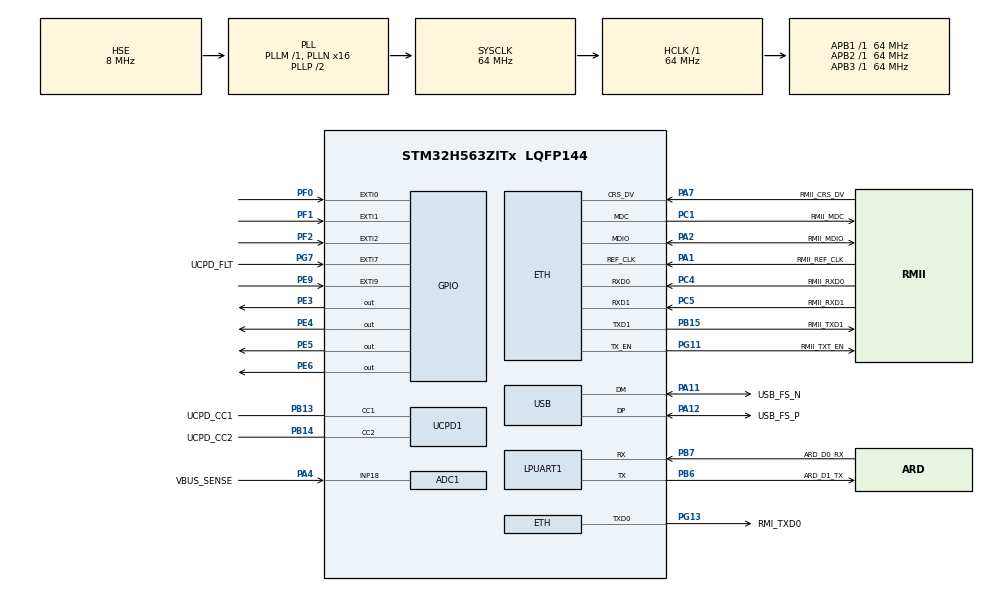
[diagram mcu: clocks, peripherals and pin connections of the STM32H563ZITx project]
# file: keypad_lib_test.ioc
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ADC1.Channel-0\#ChannelRegularConversion=ADC_CHANNEL_18
ADC1.MonitoredBy-0\#ChannelRegularConversion=__NULL
ADC1.NbrOfConversionFlag=1
ADC1.OffsetNumber-0\#ChannelRegularConversion=ADC_OFFSET_NONE
ADC1.Rank-0\#ChannelRegularConversion=1
ADC1.SamplingTime-0\#ChannelRegularConversion=ADC_SAMPLETIME_2CYCLES_5
ADC1.master=1
CORTEX_M33_NS.userName=CORTEX_M33
ETH.MediaInterface=HAL_ETH_RMII_MODE
Mcu.Family=STM32H5
Mcu.Name=STM32H563ZITx
Mcu.Package=LQFP144
NVIC.EXTI0_IRQn=true\:0\:0\:false\:false\:true\:true\:true\:true
NVIC.EXTI1_IRQn=true\:0\:0\:false\:false\:true\:true\:true\:true
NVIC.EXTI2_IRQn=true\:0\:0\:false\:false\:true\:true\:true\:true
NVIC.EXTI9_IRQn=true\:0\:0\:false\:false\:true\:true\:true\:true
NVIC.PriorityGroup=NVIC_PRIORITYGROUP_4
PA1.GPIO_Label=RMII_REF_CLK
PA1.GPIO_Mode=GPIO_MODE_AF_PP
PA1.GPIO_PuPd=GPIO_NOPULL
PA1.GPIO_Speed=GPIO_SPEED_FREQ_LOW
PA1.Mode=RMII
PA1.Signal=ETH_REF_CLK
PA11.GPIO_Label=USB_FS_N
PA11.Mode=Device
PA11.Signal=USB_DM
PA12.GPIO_Label=USB_FS_P
PA12.Mode=Device
PA12.Signal=USB_DP
PA13(JTMS/SWDIO).GPIO_Label=SWDIO
PA13(JTMS/SWDIO).Signal=DEBUG_JTMS-SWDIO
PA14(JTCK/SWCLK).GPIO_Label=SWCLK
PA14(JTCK/SWCLK).Signal=DEBUG_JTCK-SWCLK
PA15(JTDI).GPIO_Label=T_JTDI
PA15(JTDI).Signal=DEBUG_JTDI
PA2.GPIO_Label=RMII_MDIO
PA2.GPIO_Mode=GPIO_MODE_AF_PP
PA2.GPIO_PuPd=GPIO_NOPULL
PA2.GPIO_Speed=GPIO_SPEED_FREQ_LOW
PA2.Mode=RMII
PA2.Signal=ETH_MDIO
PA4.GPIO_Label=VBUS_SENSE
PA4.Signal=ADCx_INP18
PA7.GPIO_Label=RMII_CRS_DV
PA7.GPIO_Mode=GPIO_MODE_AF_PP
PA7.GPIO_PuPd=GPIO_NOPULL
PA7.GPIO_Speed=GPIO_SPEED_FREQ_LOW
PA7.Mode=RMII
PA7.Signal=ETH_CRS_DV
PB13.GPIO_Label=UCPD_CC1
PB13.Mode=Source_AllSignals
PB13.Signal=UCPD1_CC1
PB14.GPIO_Label=UCPD_CC2
PB14.Mode=Source_AllSignals
PB14.Signal=UCPD1_CC2
PB15.GPIO_Label=RMII_TXD1
PB15.GPIO_Mode=GPIO_MODE_AF_PP
PB15.GPIO_PuPd=GPIO_NOPULL
PB15.GPIO_Speed=GPIO_SPEED_FREQ_LOW
PB15.Mode=RMII
PB15.Signal=ETH_TXD1
PB3(JTDO/TRACESWO).GPIO_Label=SWO
PB3(JTDO/TRACESWO).Signal=DEBUG_JTDO-SWO
PB6.GPIO_Label=ARD_D1_TX
PB6.Mode=Asynchronous
PB6.Signal=LPUART1_TX
PB7.GPIO_Label=ARD_D0_RX
PB7.Mode=Asynchronous
PB7.Signal=LPUART1_RX
PC1.GPIO_Label=RMII_MDC
PC1.GPIO_Mode=GPIO_MODE_AF_PP
PC1.GPIO_PuPd=GPIO_NOPULL
PC1.GPIO_Speed=GPIO_SPEED_FREQ_LOW
PC1.Mode=RMII
PC1.Signal=ETH_MDC
PC14-OSC32_IN(OSC32_IN).Mode=LSE-External-Oscillator
PC14-OSC32_IN(OSC32_IN).Signal=RCC_OSC32_IN
PC15-OSC32_OUT(OSC32_OUT).Mode=LSE-External-Oscillator
PC15-OSC32_OUT(OSC32_OUT).Signal=RCC_OSC32_OUT
PC4.GPIO_Label=RMII_RXD0
PC4.GPIO_Mode=GPIO_MODE_AF_PP
PC4.GPIO_PuPd=GPIO_NOPULL
PC4.GPIO_Speed=GPIO_SPEED_FREQ_LOW
PC4.Mode=RMII
PC4.Signal=ETH_RXD0
PC5.GPIO_Label=RMII_RXD1
PC5.GPIO_Mode=GPIO_MODE_AF_PP
PC5.GPIO_PuPd=GPIO_NOPULL
PC5.GPIO_Speed=GPIO_SPEED_FREQ_LOW
PC5.Mode=RMII
PC5.Signal=ETH_RXD1
PE3.Signal=GPIO_Output
PE4.Signal=GPIO_Output
PE5.Signal=GPIO_Output
PE6.Signal=GPIO_Output
PE9.GPIO_ModeDefaultEXTI=GPIO_MODE_IT_RISING_FALLING
PE9.Signal=GPXTI9
PF0.GPIO_ModeDefaultEXTI=GPIO_MODE_IT_RISING_FALLING
PF0.Signal=GPXTI0
PF1.GPIO_ModeDefaultEXTI=GPIO_MODE_IT_RISING_FALLING
PF1.Signal=GPXTI1
PF2.GPIO_ModeDefaultEXTI=GPIO_MODE_IT_RISING_FALLING
PF2.Signal=GPXTI2
PG11.GPIO_Label=RMII_TXT_EN
PG11.GPIO_Mode=GPIO_MODE_AF_PP
PG11.GPIO_PuPd=GPIO_NOPULL
PG11.GPIO_Speed=GPIO_SPEED_FREQ_LOW
PG11.Mode=RMII
PG11.Signal=ETH_TX_EN
PG13.GPIO_Label=RMI_TXD0
PG13.GPIO_Mode=GPIO_MODE_AF_PP
PG13.GPIO_PuPd=GPIO_NOPULL
PG13.GPIO_Speed=GPIO_SPEED_FREQ_LOW
PG13.Mode=RMII
PG13.Signal=ETH_TXD0
PG7.GPIO_Label=UCPD_FLT
PG7.Signal=GPXTI7
PH0-OSC_IN(PH0).Mode=HSE-DIG-External-Clock-Source
PH0-OSC_IN(PH0).Signal=RCC_OSC_IN
ProjectManager.HeapSize=0x200
ProjectManager.StackSize=0x400
ProjectManager.TargetToolchain=STM32CubeIDE
RCC.ADCFreq_Value=64000000
RCC.AHBFreq_Value=64000000
RCC.APB1Freq_Value=64000000
RCC.APB1TimFreq_Value=64000000
RCC.APB2Freq_Value=64000000
RCC.APB2TimFreq_Value=64000000
RCC.APB3Freq_Value=64000000
RCC.CSI_VALUE=4000000
RCC.CortexFreq_Value=64000000
RCC.EPOD_VALUE=8000000
RCC.HCLKFreq_Value=64000000
RCC.HSE_VALUE=8000000
RCC.HSI48_VALUE=48000000
RCC.HSIDiv=RCC_HSI_DIV1
RCC.HSI_VALUE=64000000
RCC.LSIRC_VALUE=32000
RCC.PLLFRACN=0
RCC.PLLN=16
RCC.PLLSourceVirtual=RCC_PLL1_SOURCE_HSE
RCC.SYSCLKFreq_VALUE=64000000
RCC.SYSCLKSource=RCC_SYSCLKSOURCE_PLLCLK
RCC.USBFreq_Value=48000000
RCC.VCOOutputFreq_Value=128000000
SH.ADCx_INP18.0=ADC1_INP18,IN18-Single-Ended
USB.VirtualMode=Device_Only
VP_BOOTPATH_VS_BOOTPATH.Mode=BP_Activate
VP_ICACHE_VS_ICACHE.Mode=DefaultMode
VP_MEMORYMAP_VS_MEMORYMAP.Mode=CurAppReg
VP_PWR_VS_DBSignals.Mode=DisableDeadBatterySignals
VP_PWR_VS_LPOM.Mode=PowerOptimisation
VP_PWR_VS_SECSignals.Mode=Security/Privilege
VP_TIM3_VS_OPM.Mode=OPM_bit
board=NUCLEO-H563ZI

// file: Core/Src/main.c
/* USER CODE BEGIN Header */
/**
  ******************************************************************************
  * @file           : main.c
  * @brief          : Main program body
  ******************************************************************************
  * @attention
  *
  * Copyright (c) 2024 STMicroelectronics.
  * All rights reserved.
  *
  * This software is licensed under terms that can be found in the LICENSE file
  * in the root directory of this software component.
  * If no LICENSE file comes with this software, it is provided AS-IS.
  *
  ******************************************************************************
  */
/* USER CODE END Header */
#include "main.h"
#include "string.h"

/* USER CODE BEGIN Includes */
#include "keypad.h"
/* USER CODE END Includes */

/* USER CODE BEGIN PD */
#define ROW0_PORT GPIOE
#define ROW1_PORT GPIOE
#define ROW2_PORT GPIOE
#define ROW3_PORT GPIOE
#define ROW0_PIN GPIO_PIN_4
#define ROW1_PIN GPIO_PIN_5
#define ROW2_PIN GPIO_PIN_6
#define ROW3_PIN GPIO_PIN_3
#define COL0_PORT GPIOE
#define COL1_PORT GPIOF
#define COL2_PORT GPIOF
#define COL3_PORT GPIOF
#define COL0_PIN GPIO_PIN_9 //EXTI pin number cannot overlap
#define COL1_PIN GPIO_PIN_2
#define COL2_PIN GPIO_PIN_1
#define COL3_PIN GPIO_PIN_0
/* USER CODE END PD */

ETH_TxPacketConfig TxConfig;
ETH_DMADescTypeDef  DMARxDscrTab[ETH_RX_DESC_CNT]; /* Ethernet Rx DMA Descriptors */
ETH_DMADescTypeDef  DMATxDscrTab[ETH_TX_DESC_CNT]; /* Ethernet Tx DMA Descriptors */

ADC_HandleTypeDef hadc1;

ETH_HandleTypeDef heth;

UART_HandleTypeDef hlpuart1;

TIM_HandleTypeDef htim3;

PCD_HandleTypeDef hpcd_USB_DRD_FS;

void SystemClock_Config(void);
static void MX_GPIO_Init(void);
static void MX_ADC1_Init(void);
static void MX_ETH_Init(void);
static void MX_ICACHE_Init(void);
static void MX_LPUART1_UART_Init(void);
static void MX_UCPD1_Init(void);
static void MX_USB_PCD_Init(void);
static void MX_TIM3_Init(void);

/* USER CODE BEGIN 0 */
extern uint8_t Last_Key_Down;
uint16_t rise_pin, fall_pin;
Keypad myKB;

GPIO_TypeDef* KB_COL_PORTs[4] = {COL0_PORT, COL1_PORT, COL2_PORT, COL3_PORT};
GPIO_TypeDef* KB_ROW_PORTs[4] = {ROW0_PORT, ROW1_PORT, ROW2_PORT, ROW3_PORT};
uint16_t KB_COL_PINs[4] = {COL0_PIN, COL1_PIN, COL2_PIN, COL3_PIN};
uint16_t KB_ROW_PINs[4] = {ROW0_PIN, ROW1_PIN, ROW2_PIN, ROW3_PIN};
/* USER CODE END 0 */

int main(void)
{

  /* MCU Configuration--------------------------------------------------------*/

  /* Reset of all peripherals, Initializes the Flash interface and the Systick. */
  HAL_Init();

  /* USER CODE BEGIN Init */
  uint8_t col0_keys[4] = {'0', '1', '2', '3'};
  uint8_t col1_keys[4] = {'4', '5', '6', '7'};
  uint8_t col2_keys[4] = {'8', '9', 'A', 'B'};
  uint8_t col3_keys[4] = {'C', 'D', 'E', 'F'};
  uint8_t *keys[4] = {col0_keys, col1_keys, col2_keys, col3_keys};
  /* USER CODE END Init */

  /* Configure the system clock */
  SystemClock_Config();

  /* Initialize all configured peripherals */
  MX_GPIO_Init();
  MX_ADC1_Init();
  MX_ETH_Init();
  MX_ICACHE_Init();
  MX_LPUART1_UART_Init();
  MX_UCPD1_Init();
  MX_USB_PCD_Init();
  MX_TIM3_Init();
  /* USER CODE BEGIN 2 */
  Keypad_Start(&myKB, KB_ROW_PORTs, KB_COL_PORTs, KB_ROW_PINs, KB_COL_PINs, keys);
  /* USER CODE END 2 */

  /* Infinite loop */
  while (1)
  {

  }
}

void SystemClock_Config(void)
{
  RCC_OscInitTypeDef RCC_OscInitStruct = {0};
  RCC_ClkInitTypeDef RCC_ClkInitStruct = {0};

  /** Configure the main internal regulator output voltage
  */
  __HAL_PWR_VOLTAGESCALING_CONFIG(PWR_REGULATOR_VOLTAGE_SCALE3);

  while(!__HAL_PWR_GET_FLAG(PWR_FLAG_VOSRDY)) {}

  /** Initializes the RCC Oscillators according to the specified parameters
  * in the RCC_OscInitTypeDef structure.
  */
  RCC_OscInitStruct.OscillatorType = RCC_OSCILLATORTYPE_HSI48|RCC_OSCILLATORTYPE_HSI
                              |RCC_OSCILLATORTYPE_HSE;
  RCC_OscInitStruct.HSEState = RCC_HSE_BYPASS_DIGITAL;
  RCC_OscInitStruct.HSIState = RCC_HSI_ON;
  RCC_OscInitStruct.HSIDiv = RCC_HSI_DIV1;
  RCC_OscInitStruct.HSICalibrationValue = RCC_HSICALIBRATION_DEFAULT;
  RCC_OscInitStruct.HSI48State = RCC_HSI48_ON;
  RCC_OscInitStruct.PLL.PLLState = RCC_PLL_ON;
  RCC_OscInitStruct.PLL.PLLSource = RCC_PLL1_SOURCE_HSE;
  RCC_OscInitStruct.PLL.PLLM = 1;
  RCC_OscInitStruct.PLL.PLLN = 16;
  RCC_OscInitStruct.PLL.PLLP = 2;
  RCC_OscInitStruct.PLL.PLLQ = 2;
  RCC_OscInitStruct.PLL.PLLR = 2;
  RCC_OscInitStruct.PLL.PLLRGE = RCC_PLL1_VCIRANGE_3;
  RCC_OscInitStruct.PLL.PLLVCOSEL = RCC_PLL1_VCORANGE_WIDE;
  RCC_OscInitStruct.PLL.PLLFRACN = 0;
  if (HAL_RCC_OscConfig(&RCC_OscInitStruct) != HAL_OK)
  {
    Error_Handler();
  }

  /** Initializes the CPU, AHB and APB buses clocks
  */
  RCC_ClkInitStruct.ClockType = RCC_CLOCKTYPE_HCLK|RCC_CLOCKTYPE_SYSCLK
                              |RCC_CLOCKTYPE_PCLK1|RCC_CLOCKTYPE_PCLK2
                              |RCC_CLOCKTYPE_PCLK3;
  RCC_ClkInitStruct.SYSCLKSource = RCC_SYSCLKSOURCE_PLLCLK;
  RCC_ClkInitStruct.AHBCLKDivider = RCC_SYSCLK_DIV1;
  RCC_ClkInitStruct.APB1CLKDivider = RCC_HCLK_DIV1;
  RCC_ClkInitStruct.APB2CLKDivider = RCC_HCLK_DIV1;
  RCC_ClkInitStruct.APB3CLKDivider = RCC_HCLK_DIV1;

  if (HAL_RCC_ClockConfig(&RCC_ClkInitStruct, FLASH_LATENCY_3) != HAL_OK)
  {
    Error_Handler();
  }
}

static void MX_ADC1_Init(void)
{

  ADC_ChannelConfTypeDef sConfig = {0};

  /** Common config
  */
  hadc1.Instance = ADC1;
  hadc1.Init.ClockPrescaler = ADC_CLOCK_ASYNC_DIV1;
  hadc1.Init.Resolution = ADC_RESOLUTION_12B;
  hadc1.Init.DataAlign = ADC_DATAALIGN_RIGHT;
  hadc1.Init.ScanConvMode = ADC_SCAN_DISABLE;
  hadc1.Init.EOCSelection = ADC_EOC_SINGLE_CONV;
  hadc1.Init.LowPowerAutoWait = DISABLE;
  hadc1.Init.ContinuousConvMode = DISABLE;
  hadc1.Init.NbrOfConversion = 1;
  hadc1.Init.DiscontinuousConvMode = DISABLE;
  hadc1.Init.ExternalTrigConv = ADC_SOFTWARE_START;
  hadc1.Init.ExternalTrigConvEdge = ADC_EXTERNALTRIGCONVEDGE_NONE;
  hadc1.Init.DMAContinuousRequests = DISABLE;
  hadc1.Init.SamplingMode = ADC_SAMPLING_MODE_NORMAL;
  hadc1.Init.Overrun = ADC_OVR_DATA_PRESERVED;
  hadc1.Init.OversamplingMode = DISABLE;
  if (HAL_ADC_Init(&hadc1) != HAL_OK)
  {
    Error_Handler();
  }

  /** Configure Regular Channel
  */
  sConfig.Channel = ADC_CHANNEL_18;
  sConfig.Rank = ADC_REGULAR_RANK_1;
  sConfig.SamplingTime = ADC_SAMPLETIME_2CYCLES_5;
  sConfig.SingleDiff = ADC_SINGLE_ENDED;
  sConfig.OffsetNumber = ADC_OFFSET_NONE;
  sConfig.Offset = 0;
  if (HAL_ADC_ConfigChannel(&hadc1, &sConfig) != HAL_OK)
  {
    Error_Handler();
  }

}

static void MX_ETH_Init(void)
{

   static uint8_t MACAddr[6];

  heth.Instance = ETH;
  MACAddr[0] = 0x00;
  MACAddr[1] = 0x80;
  MACAddr[2] = 0xE1;
  MACAddr[3] = 0x00;
  MACAddr[4] = 0x00;
  MACAddr[5] = 0x00;
  heth.Init.MACAddr = &MACAddr[0];
  heth.Init.MediaInterface = HAL_ETH_RMII_MODE;
  heth.Init.TxDesc = DMATxDscrTab;
  heth.Init.RxDesc = DMARxDscrTab;
  heth.Init.RxBuffLen = 1524;

  if (HAL_ETH_Init(&heth) != HAL_OK)
  {
    Error_Handler();
  }

  memset(&TxConfig, 0 , sizeof(ETH_TxPacketConfig));
  TxConfig.Attributes = ETH_TX_PACKETS_FEATURES_CSUM | ETH_TX_PACKETS_FEATURES_CRCPAD;
  TxConfig.ChecksumCtrl = ETH_CHECKSUM_IPHDR_PAYLOAD_INSERT_PHDR_CALC;
  TxConfig.CRCPadCtrl = ETH_CRC_PAD_INSERT;

}

static void MX_ICACHE_Init(void)
{

  /** Enable instruction cache (default 2-ways set associative cache)
  */
  if (HAL_ICACHE_Enable() != HAL_OK)
  {
    Error_Handler();
  }

}

static void MX_LPUART1_UART_Init(void)
{

  hlpuart1.Instance = LPUART1;
  hlpuart1.Init.BaudRate = 209700;
  hlpuart1.Init.WordLength = UART_WORDLENGTH_8B;
  hlpuart1.Init.StopBits = UART_STOPBITS_1;
  hlpuart1.Init.Parity = UART_PARITY_NONE;
  hlpuart1.Init.Mode = UART_MODE_TX_RX;
  hlpuart1.Init.HwFlowCtl = UART_HWCONTROL_NONE;
  hlpuart1.Init.OneBitSampling = UART_ONE_BIT_SAMPLE_DISABLE;
  hlpuart1.AdvancedInit.AdvFeatureInit = UART_ADVFEATURE_NO_INIT;
  hlpuart1.FifoMode = UART_FIFOMODE_DISABLE;
  if (HAL_UART_Init(&hlpuart1) != HAL_OK)
  {
    Error_Handler();
  }
  if (HAL_UARTEx_SetTxFifoThreshold(&hlpuart1, UART_TXFIFO_THRESHOLD_1_8) != HAL_OK)
  {
    Error_Handler();
  }
  if (HAL_UARTEx_SetRxFifoThreshold(&hlpuart1, UART_RXFIFO_THRESHOLD_1_8) != HAL_OK)
  {
    Error_Handler();
  }
  if (HAL_UARTEx_DisableFifoMode(&hlpuart1) != HAL_OK)
  {
    Error_Handler();
  }

}

static void MX_TIM3_Init(void)
{

  TIM_MasterConfigTypeDef sMasterConfig = {0};

  htim3.Instance = TIM3;
  htim3.Init.Prescaler = 0;
  htim3.Init.CounterMode = TIM_COUNTERMODE_UP;
  htim3.Init.Period = 65535;
  htim3.Init.ClockDivision = TIM_CLOCKDIVISION_DIV1;
  htim3.Init.AutoReloadPreload = TIM_AUTORELOAD_PRELOAD_DISABLE;
  if (HAL_TIM_OnePulse_Init(&htim3, TIM_OPMODE_SINGLE) != HAL_OK)
  {
    Error_Handler();
  }
  sMasterConfig.MasterOutputTrigger = TIM_TRGO_RESET;
  sMasterConfig.MasterSlaveMode = TIM_MASTERSLAVEMODE_DISABLE;
  if (HAL_TIMEx_MasterConfigSynchronization(&htim3, &sMasterConfig) != HAL_OK)
  {
    Error_Handler();
  }

}

static void MX_UCPD1_Init(void)
{

  LL_GPIO_InitTypeDef GPIO_InitStruct = {0};

  /* Peripheral clock enable */
  LL_APB1_GRP2_EnableClock(LL_APB1_GRP2_PERIPH_UCPD1);

  LL_AHB2_GRP1_EnableClock(LL_AHB2_GRP1_PERIPH_GPIOB);
  /**UCPD1 GPIO Configuration
  PB13   ------> UCPD1_CC1
  PB14   ------> UCPD1_CC2
  */
  GPIO_InitStruct.Pin = LL_GPIO_PIN_13|LL_GPIO_PIN_14;
  GPIO_InitStruct.Mode = LL_GPIO_MODE_ANALOG;
  GPIO_InitStruct.Pull = LL_GPIO_PULL_NO;
  LL_GPIO_Init(GPIOB, &GPIO_InitStruct);

}

static void MX_USB_PCD_Init(void)
{

  hpcd_USB_DRD_FS.Instance = USB_DRD_FS;
  hpcd_USB_DRD_FS.Init.dev_endpoints = 8;
  hpcd_USB_DRD_FS.Init.speed = USBD_FS_SPEED;
  hpcd_USB_DRD_FS.Init.phy_itface = PCD_PHY_EMBEDDED;
  hpcd_USB_DRD_FS.Init.Sof_enable = DISABLE;
  hpcd_USB_DRD_FS.Init.low_power_enable = DISABLE;
  hpcd_USB_DRD_FS.Init.lpm_enable = DISABLE;
  hpcd_USB_DRD_FS.Init.battery_charging_enable = DISABLE;
  hpcd_USB_DRD_FS.Init.vbus_sensing_enable = DISABLE;
  hpcd_USB_DRD_FS.Init.bulk_doublebuffer_enable = DISABLE;
  hpcd_USB_DRD_FS.Init.iso_singlebuffer_enable = DISABLE;
  if (HAL_PCD_Init(&hpcd_USB_DRD_FS) != HAL_OK)
  {
    Error_Handler();
  }

}

static void MX_GPIO_Init(void)
{
  GPIO_InitTypeDef GPIO_InitStruct = {0};

  /* GPIO Ports Clock Enable */
  __HAL_RCC_GPIOE_CLK_ENABLE();
  __HAL_RCC_GPIOC_CLK_ENABLE();
  __HAL_RCC_GPIOF_CLK_ENABLE();
  __HAL_RCC_GPIOH_CLK_ENABLE();
  __HAL_RCC_GPIOA_CLK_ENABLE();
  __HAL_RCC_GPIOB_CLK_ENABLE();
  __HAL_RCC_GPIOG_CLK_ENABLE();

  /*Configure GPIO pin Output Level */
  HAL_GPIO_WritePin(GPIOE, GPIO_PIN_3|GPIO_PIN_4|GPIO_PIN_5|GPIO_PIN_6, GPIO_PIN_RESET);

  /*Configure GPIO pins : PE3 PE4 PE5 PE6 */
  GPIO_InitStruct.Pin = GPIO_PIN_3|GPIO_PIN_4|GPIO_PIN_5|GPIO_PIN_6;
  GPIO_InitStruct.Mode = GPIO_MODE_OUTPUT_PP;
  GPIO_InitStruct.Pull = GPIO_NOPULL;
  GPIO_InitStruct.Speed = GPIO_SPEED_FREQ_LOW;
  HAL_GPIO_Init(GPIOE, &GPIO_InitStruct);

  /*Configure GPIO pins : PF0 PF1 PF2 */
  GPIO_InitStruct.Pin = GPIO_PIN_0|GPIO_PIN_1|GPIO_PIN_2;
  GPIO_InitStruct.Mode = GPIO_MODE_IT_RISING_FALLING;
  GPIO_InitStruct.Pull = GPIO_NOPULL;
  HAL_GPIO_Init(GPIOF, &GPIO_InitStruct);

  /*Configure GPIO pin : PE9 */
  GPIO_InitStruct.Pin = GPIO_PIN_9;
  GPIO_InitStruct.Mode = GPIO_MODE_IT_RISING_FALLING;
  GPIO_InitStruct.Pull = GPIO_NOPULL;
  HAL_GPIO_Init(GPIOE, &GPIO_InitStruct);

  /*Configure GPIO pin : UCPD_FLT_Pin */
  GPIO_InitStruct.Pin = UCPD_FLT_Pin;
  GPIO_InitStruct.Mode = GPIO_MODE_IT_RISING;
  GPIO_InitStruct.Pull = GPIO_NOPULL;
  HAL_GPIO_Init(UCPD_FLT_GPIO_Port, &GPIO_InitStruct);

  /* EXTI interrupt init*/
  HAL_NVIC_SetPriority(EXTI0_IRQn, 0, 0);
  HAL_NVIC_EnableIRQ(EXTI0_IRQn);

  HAL_NVIC_SetPriority(EXTI1_IRQn, 0, 0);
  HAL_NVIC_EnableIRQ(EXTI1_IRQn);

  HAL_NVIC_SetPriority(EXTI2_IRQn, 0, 0);
  HAL_NVIC_EnableIRQ(EXTI2_IRQn);

  HAL_NVIC_SetPriority(EXTI9_IRQn, 0, 0);
  HAL_NVIC_EnableIRQ(EXTI9_IRQn);

}

/* USER CODE BEGIN 4 */
void HAL_GPIO_EXTI_Rising_Callback(uint16_t GPIO_Pin)
{
	if(GPIO_Pin == 4)
		return;
	rise_pin = GPIO_Pin;
	Keypad_Rising_EXTI(&myKB, GPIO_Pin);

}

void HAL_GPIO_EXTI_Falling_Callback(uint16_t GPIO_Pin)
{
	if(GPIO_Pin == 4)
		return;
	fall_pin = GPIO_Pin;
	Keypad_Rising_EXTI(&myKB, GPIO_Pin);
}
/* USER CODE END 4 */

void Error_Handler(void)
{
  __disable_irq();
  while (1)
  {
  }
}
